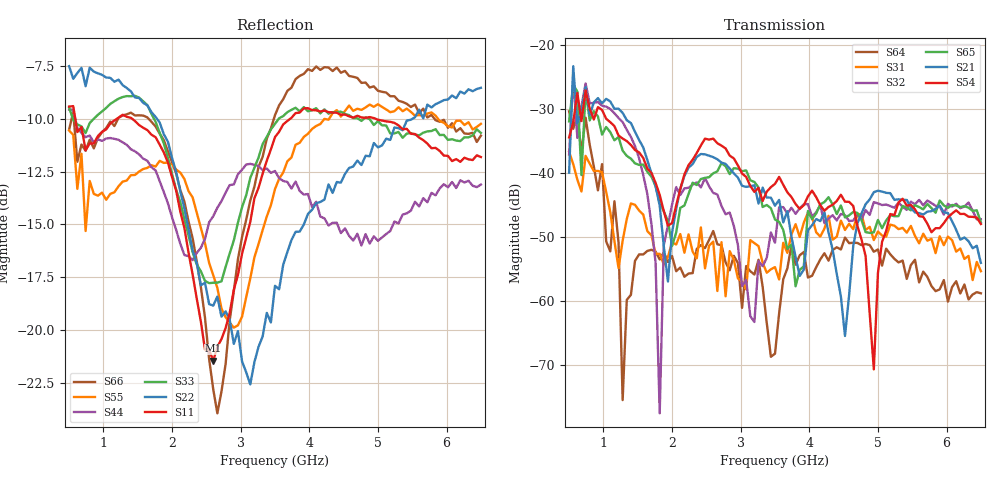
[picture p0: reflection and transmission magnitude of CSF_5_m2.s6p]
!Keysight Technologies,M9804A,MY58100912,A.14.10.03
!Date: Thursday, April 27, 2023 10:28:33
!Correction: S11(C  6-Port  )
!S12(C  6-Port  )
!S13(C  6-Port  )
!S14(C  6-Port  )
!S15(C  6-Port  )
!S16(C  6-Port  )
!S21(C  6-Port  )
!S22(C  6-Port  )
!S23(C  6-Port  )
!S24(C  6-Port  )
!S25(C  6-Port  )
!S26(C  6-Port  )
!S31(C  6-Port  )
!S32(C  6-Port  )
!S33(C  6-Port  )
!S34(C  6-Port  )
!S35(C  6-Port  )
!S36(C  6-Port  )
!S41(C  6-Port  )
!S42(C  6-Port  )
!S43(C  6-Port  )
!S44(C  6-Port  )
!S45(C  6-Port  )
!S46(C  6-Port  )
!S51(C  6-Port  )
!S52(C  6-Port  )
!S53(C  6-Port  )
!S54(C  6-Port  )
!S55(C  6-Port  )
!S56(C  6-Port  )
!S61(C  6-Port  )
!S62(C  6-Port  )
!S63(C  6-Port  )
!S64(C  6-Port  )
!S65(C  6-Port  )
!S66(C  6-Port  )
!S6P File: Measurement: :
# Hz S  RI  R 50
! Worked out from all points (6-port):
!   101 points, 500 MHz to 6.5 GHz, reference 50 ohm
!   strongest paths, dB at 500 MHz, 2 GHz, 3.5 GHz, 5 GHz, 6.5 GHz:
!     S54: -34.4, -47.8, -41.7, -55.6, -48.0
!     S21: -39.9, -49.3, -45.1, -42.8, -54.0
!     S65: -31.9, -51.4, -47.3, -47.3, -47.7
!     S32: -37.1, -44.9, -50.9, -44.8, -47.2
!     S31: -36.7, -50.9, -54.7, -49.2, -55.3
!     S64: -30.4, -53.0, -68.2, -51.9, -58.8
!   lowest |S11| = -21.5 dB at 2.6 GHz (marker M1), VSWR 1.18, Z = 42.5 + j2.21 ohm
!   |S11| at or under -10 dB: 589.8 MHz to 1.19 GHz (600.5 MHz wide, 67.5 % of centre); 1.423 GHz to 3.717 GHz (2.294 GHz wide, 89.3 % of centre); 4.974 GHz to end of sweep
